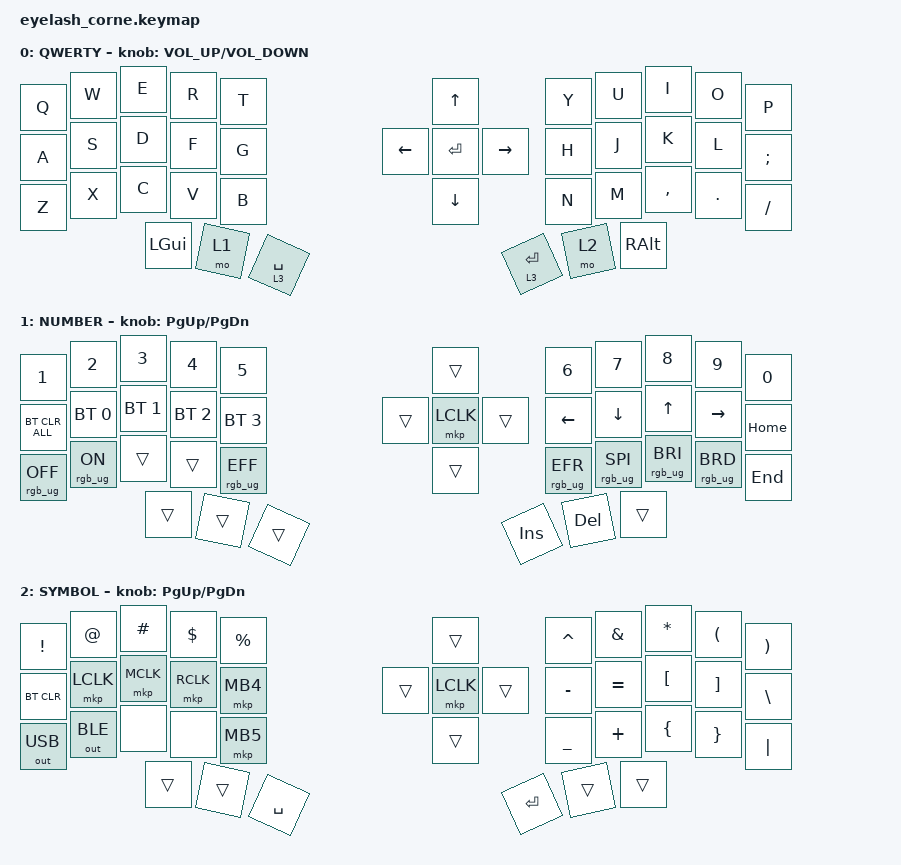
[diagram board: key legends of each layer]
#include <behaviors.dtsi>
#include <dt-bindings/zmk/bt.h>
#include <dt-bindings/zmk/keys.h>
#include <dt-bindings/zmk/mouse.h>
#include <dt-bindings/zmk/outputs.h>
#include <dt-bindings/zmk/rgb.h>

/ {
    behaviors {
        td0: td0 {
            compatible = "zmk,behavior-tap-dance";
            #binding-cells = <0>;
            bindings = <&kp LEFT_SHIFT>, <&kp CAPS>;
        };
    };

    rgb_encoder: rgb_encoder {
        compatible = "zmk,behavior-sensor-rotate";
        #sensor-binding-cells = <0>;
        bindings = <&rgb_ug RGB_BRI>, <&rgb_ug RGB_BRD>;
    };

    keymap {
        compatible = "zmk,keymap";

        default_layer {
            display-name = "QWERTY";

            bindings = <
 &kp Q  &kp W      &kp E     &kp R  &kp T                              &kp UP                &kp Y        &kp U  &kp I      &kp O    &kp P     
 &kp A  &kp S      &kp D     &kp F  &kp G                    &kp LEFT  &kp ENTER  &kp RIGHT  &kp H        &kp J  &kp K      &kp L    &kp SEMI  
 &kp Z  &kp X      &kp C     &kp V  &kp B                              &kp DOWN              &kp N        &kp M  &kp COMMA  &kp DOT  &kp FSLH  
                             &kp LGUI  &mo 1  &lt 3 SPACE                                              &lt 3 ENTER  &mo 2  &kp RALT
            >;

            sensor-bindings = <&inc_dec_kp C_VOLUME_UP C_VOLUME_DOWN>;
        };

        lower_layer {
            display-name = "NUMBER";
            bindings = <
 &kp N1           &kp N2          &kp N3        &kp N4        &kp N5                                &trans            &kp N6           &kp N7           &kp N8           &kp N9           &kp N0    
 &bt BT_CLR_ALL   &bt BT_SEL 0    &bt BT_SEL 1  &bt BT_SEL 2  &bt BT_SEL 3                  &trans  &mkp LCLK  &trans &kp LEFT         &kp DOWN         &kp UP           &kp RIGHT        &kp HOME  
 &rgb_ug RGB_OFF  &rgb_ug RGB_ON  &trans        &trans        &rgb_ug RGB_EFF                       &trans            &rgb_ug RGB_EFR  &rgb_ug RGB_SPI  &rgb_ug RGB_BRI  &rgb_ug RGB_BRD  &kp END   
                                         &trans        &trans        &trans                                                  &kp INS          &kp DEL          &trans
            >;

            sensor-bindings = <&inc_dec_kp PG_UP PG_DN>;
        };

        raise_layer {
            display-name = "SYMBOL";
            bindings = <
  &kp EXCL      &kp AT        &kp HASH   &kp DLLR   &kp PRCNT                       &trans            &kp CARET  &kp AMPS   &kp ASTRK  &kp LPAR  &kp RPAR  
  &bt BT_CLR    &mkp LCLK     &mkp MCLK  &mkp RCLK  &mkp MB4                &trans  &mkp LCLK  &trans &kp MINUS  &kp EQUAL  &kp LBKT   &kp RBKT  &kp BSLH  
  &out OUT_USB  &out OUT_BLE  &none      &none      &mkp MB5             &trans            &kp UNDER  &kp PLUS   &kp LBRC   &kp RBRC  &kp PIPE  
                                    &trans     &trans     &kp SPACE                                         &kp RET    &trans     &trans
            >;

            sensor-bindings = <&inc_dec_kp PG_UP PG_DN>;
        };


    };
};
